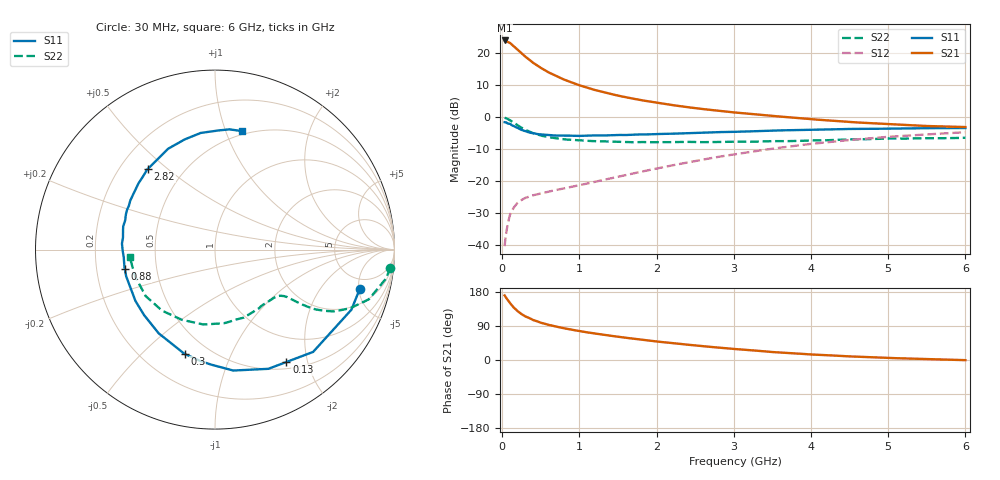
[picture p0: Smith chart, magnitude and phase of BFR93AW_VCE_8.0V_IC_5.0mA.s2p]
! Infineon Technologies  Discrete & RF Semiconductors
! BFR93AW
! VCE =  8.0 V,  IC =  5.0 mA
! Common Emitter S-Parameters:  Nov 2015
# GHz  S  MA  R  50
!  f  S11  S21  S12  S22
! GHz  MAG  ANG  MAG  ANG  MAG  ANG  MAG  ANG
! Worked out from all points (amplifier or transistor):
!   206 points, 30 MHz to 6 GHz, reference 50 ohm
!   highest |S21| = 24.0 dB at 30 MHz (marker M1)
!   |S21| within 3 dB of that: start of sweep to 204 MHz
!   unconditionally stable (mu >= 1): 945.4 MHz to 2.22 GHz
!   at 200 MHz: K = 0.30, MSG = 23.9 dB, |S12| = -26.8 dB
!   at 1.56 GHz: K = 1.09, MAG = 10.5 dB, |S12| = -18.3 dB
!   at 6 GHz: K = 0.91, MSG = 0.8 dB, |S12| = -4.7 dB
!   S11 on the Smith chart (normalised r, x): 30 MHz: 3.50, -5.11; 130 MHz: 0.60, -1.66; 300 MHz: 0.37, -0.68; 880 MHz: 0.32, -0.10; 2.82 GHz: 0.31, +0.43; 6 GHz: 0.47, +1.14
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0.03  0.8357 -15.3  15.87 170.4  0.0096 79.0  0.9827 -5.9
0.05  0.8304 -23.8  15.63 164.0  0.0153 77.0  0.966 -9.7
0.1  0.7898 -46.2  14.51 149.9  0.0297 67.0  0.9007 -17.9
0.13  0.7417 -57.6  13.45 143.0  0.0351 61.7  0.8505 -21.2
0.15  0.7277 -65.9  12.86 137.9  0.0388 59.0  0.8187 -23.6
0.2  0.6815 -81.4  11.35 128.6  0.0459 54.2  0.7457 -27.5
0.26  0.6266 -97.2  9.73 119.8  0.0516 50.1  0.672 -30.1
0.3  0.6053 -106.3  8.835 114.9  0.0547 48.0  0.6331 -31.2
0.4  0.5622 -123.9  7.088 105.4  0.0601 46.0  0.5617 -32.4
0.5  0.5379 -137.2  5.906 98.3  0.0643 46.3  0.5151 -32.9
0.6  0.5275 -147.2  5.022 92.7  0.0685 47.6  0.487 -33.2
0.68  0.5174 -154.1  4.511 89.0  0.0719 48.8  0.4708 -33.7
0.88  0.5141 -167.8  3.558 80.7  0.0806 52.7  0.4433 -35.5
1.04  0.5111 -176.4  3.048 75.0  0.0885 55.8  0.4301 -37.7
1.2  0.5195 176.2  2.665 69.9  0.0974 58.3  0.4219 -40.2
1.5  0.5277 165.7  2.173 61.3  0.1169 63.0  0.4126 -46.0
2.02  0.546 149.4  1.672 48.4  0.1589 66.9  0.4071 -58.1
2.82  0.585 129.7  1.254 32.4  0.242 66.0  0.4098 -78.5
3.1  0.5944 123.3  1.159 27.7  0.273 64.2  0.4125 -86.2
4.1  0.6391 103.7  0.912 13.7  0.3931 54.3  0.4335 -118.5
5.1  0.6638 88.5  0.768 4.8  0.5019 41.3  0.4633 -149.2
6  0.6771 77.2  0.701 -0.4  0.5818 29.6  0.4767 -174.8
